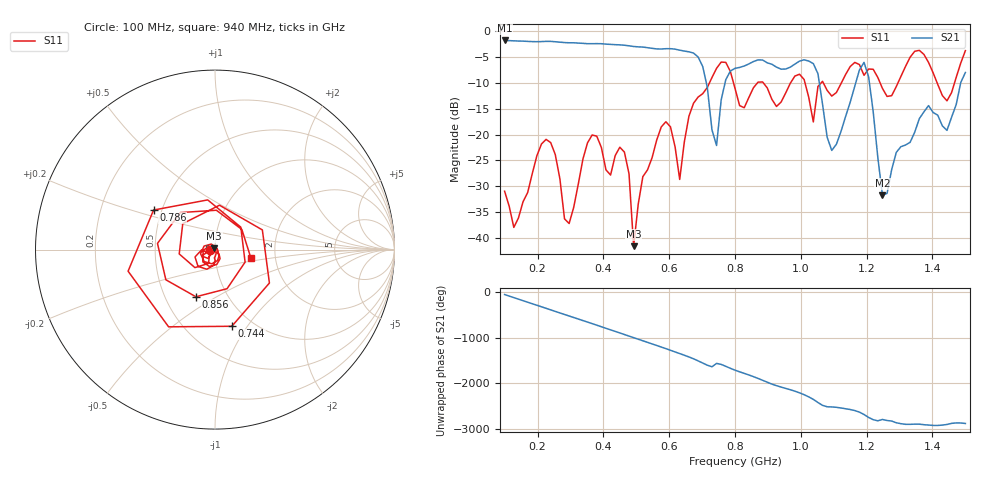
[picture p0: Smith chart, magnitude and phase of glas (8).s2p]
! NanoVNA-App
! Date: 2025-09-25 15:55:32
! Start: 100MHz Stop: 1,5GHz Points: 101
! S-Parameter data: F S11 S21 S12 S22
# Hz S RI R 50
!  Frequency  S11_Real  S11_Imag  S21_Real  S21_Imag  S12_Real  S12_Imag  S22_Real  S22_Imag
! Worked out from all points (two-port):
!   101 points, 100 MHz to 1.5 GHz, reference 50 ohm
!   highest |S21| = -1.80 dB at 100 MHz (marker M1); lowest = -31.7 dB at 1.248 GHz (marker M2)
!   |S21| within 3 dB of the highest: start of sweep to 684.3 MHz
!   lowest |S11| = -41.6 dB at 492 MHz (marker M3), VSWR 1.02, Z = 49.5 + j0.628 ohm
!   |S11| at or under -10 dB: start of sweep to 722.5 MHz; 795.4 MHz to 868.2 MHz (72.78 MHz wide, 8.75 % of centre); 886 MHz to 968.8 MHz (82.73 MHz wide, 8.92 % of centre) (the widest 3 of 7)
!   S12 and S22 are empty: the file has one direction only
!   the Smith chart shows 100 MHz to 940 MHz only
!   S11 on the Smith chart (normalised r, x): 100 MHz: 0.95, -0.01; 744 MHz: 0.81, -0.85; 786 MHz: 0.45, +0.24; 856 MHz: 0.71, -0.41; 940 MHz: 1.49, -0.15
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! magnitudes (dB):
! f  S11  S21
! 100 MHz  -31.0  -1.8
! 128 MHz  -38.0  -1.9
! 226 MHz  -20.9  -2.0
! 296 MHz  -37.2  -2.2
! 338 MHz  -24.7  -2.4
! 464 MHz  -23.4  -2.7
! 492 MHz  -41.6  -3.0
! 576 MHz  -18.5  -3.5
! 632 MHz  -28.7  -3.7
! 702 MHz  -12.1  -6.8
! 744 MHz  -7.2  -22.1
! 786 MHz  -7.8  -7.7
! 800 MHz  -11.1  -7.2
! 856 MHz  -10.9  -5.9
! 940 MHz  -13.7  -7.4
! 996 MHz  -8.3  -5.8
! 1.038 GHz  -17.6  -6.3
! 1.094 GHz  -12.6  -23.1
! 1.192 GHz  -8.5  -6.0
! 1.248 GHz  -11.1  -31.7
! 1.276 GHz  -12.5  -26.8
! 1.5 GHz  -3.8  -8.0
